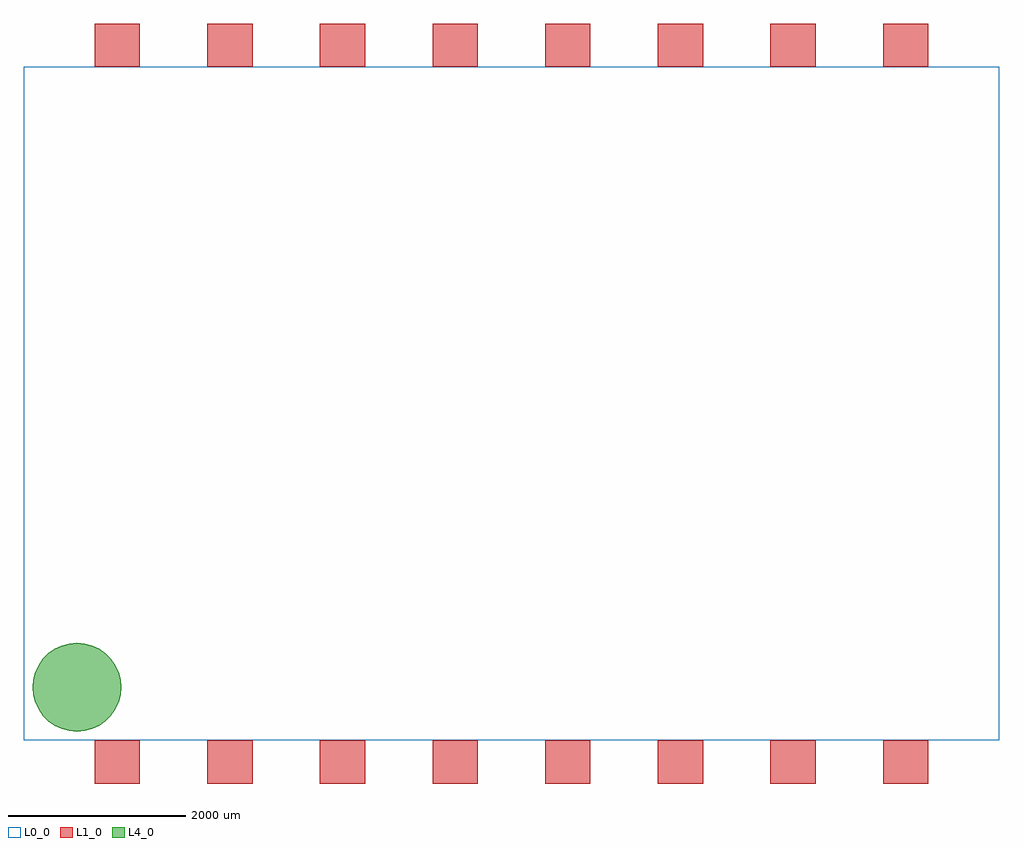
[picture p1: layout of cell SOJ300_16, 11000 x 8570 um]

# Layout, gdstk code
import gdstk
lib = gdstk.Library(unit=1e-6, precision=1e-09)
def R(c, l, rs):  # rectangles x0, y0, x1, y1
    for r in rs: c.add(gdstk.rectangle(r[:2], r[2:], *l))
def A(c, l, x, y, w, h, nx, ny, dx, dy):  # array of equal rectangles
    R(c, l, [(x+i*dx, y+j*dy, x+i*dx+w, y+j*dy+h) for i in range(nx) for j in range(ny)])
def P(c, l, *ps):  # polygons
    for p in ps: c.add(gdstk.Polygon(p, *l))
L0_0 = (0, 0)
L1_0 = (1, 0)
L4_0 = (4, 0)
L99_1 = (99, 1)
L99_2 = (99, 2)
L99_3 = (99, 3)
L99_4 = (99, 4)
L99_5 = (99, 5)
L99_6 = (99, 6)
L99_7 = (99, 7)
L99_8 = (99, 8)
L99_9 = (99, 9)
L99_10 = (99, 10)
L99_11 = (99, 11)
L99_12 = (99, 12)
L99_13 = (99, 13)
L99_14 = (99, 14)
L99_15 = (99, 15)
L99_16 = (99, 16)

soj300_16 = lib.new_cell('SOJ300_16')
R(soj300_16, L0_0, [(0,0,11000,7600)])
A(soj300_16, L1_0, 800, -485, 510, 485, 8, 2, 1270, 8085)
P(soj300_16, L4_0, [(1100,600),(1092.404,513.176),(1069.846,428.99),(1033.013,350),(983.022,278.606),(921.394,216.978),(850,166.987),(771.01,130.154),(686.824,107.596),(600,100),(513.176,107.596),(428.99,130.154),(350,166.987),(278.606,216.978),(216.978,278.606),(166.987,350),(130.154,428.99),(107.596,513.176),(100,600),(107.596,686.824),(130.154,771.01),(166.987,850),(216.978,921.394),(278.606,983.022),(350,1033.013),(428.99,1069.846),(513.176,1092.404),(600,1100),(686.824,1092.404),(771.01,1069.846),(850,1033.013),(921.394,983.022),(983.022,921.394),(1033.013,850),(1069.846,771.01),(1092.404,686.824)])
soj300_16.add(gdstk.FlexPath([(1310,0),(800,0)], 0, ends="round", simple_path=True, layer=99, datatype=1))  # L99_1
soj300_16.add(gdstk.FlexPath([(2580,0),(2070,0)], 0, ends="round", simple_path=True, layer=99, datatype=2))  # L99_2
soj300_16.add(gdstk.FlexPath([(3850,0),(3340,0)], 0, ends="round", simple_path=True, layer=99, datatype=3))  # L99_3
soj300_16.add(gdstk.FlexPath([(5120,0),(4610,0)], 0, ends="round", simple_path=True, layer=99, datatype=4))  # L99_4
soj300_16.add(gdstk.FlexPath([(6390,0),(5880,0)], 0, ends="round", simple_path=True, layer=99, datatype=5))  # L99_5
soj300_16.add(gdstk.FlexPath([(7660,0),(7150,0)], 0, ends="round", simple_path=True, layer=99, datatype=6))  # L99_6
soj300_16.add(gdstk.FlexPath([(8930,0),(8420,0)], 0, ends="round", simple_path=True, layer=99, datatype=7))  # L99_7
soj300_16.add(gdstk.FlexPath([(10200,0),(9690,0)], 0, ends="round", simple_path=True, layer=99, datatype=8))  # L99_8
soj300_16.add(gdstk.FlexPath([(800,7600),(1310,7600)], 0, ends="round", simple_path=True, layer=99, datatype=16))  # L99_16
soj300_16.add(gdstk.FlexPath([(2070,7600),(2580,7600)], 0, ends="round", simple_path=True, layer=99, datatype=15))  # L99_15
soj300_16.add(gdstk.FlexPath([(3340,7600),(3850,7600)], 0, ends="round", simple_path=True, layer=99, datatype=14))  # L99_14
soj300_16.add(gdstk.FlexPath([(4610,7600),(5120,7600)], 0, ends="round", simple_path=True, layer=99, datatype=13))  # L99_13
soj300_16.add(gdstk.FlexPath([(5880,7600),(6390,7600)], 0, ends="round", simple_path=True, layer=99, datatype=12))  # L99_12
soj300_16.add(gdstk.FlexPath([(7150,7600),(7660,7600)], 0, ends="round", simple_path=True, layer=99, datatype=11))  # L99_11
soj300_16.add(gdstk.FlexPath([(8420,7600),(8930,7600)], 0, ends="round", simple_path=True, layer=99, datatype=10))  # L99_10
soj300_16.add(gdstk.FlexPath([(9690,7600),(10200,7600)], 0, ends="round", simple_path=True, layer=99, datatype=9))  # L99_9

lib.write_gds('SOJ300_16.gds')
